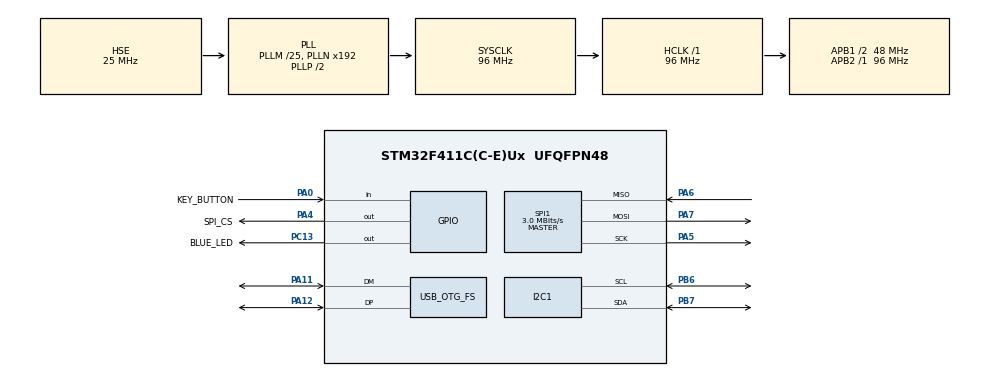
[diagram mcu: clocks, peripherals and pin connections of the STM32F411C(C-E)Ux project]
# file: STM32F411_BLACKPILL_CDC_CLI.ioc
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FREERTOS.Tasks01=defaultTask,24,128,StartDefaultTask,Default,NULL,Dynamic,NULL,NULL
FREERTOS.configUSE_NEWLIB_REENTRANT=1
Mcu.Family=STM32F4
Mcu.Name=STM32F411C(C-E)Ux
Mcu.Package=UFQFPN48
NVIC.OTG_FS_IRQn=true\:5\:0\:false\:false\:true\:true\:false\:true\:true
NVIC.PriorityGroup=NVIC_PRIORITYGROUP_4
NVIC.TIM1_UP_TIM10_IRQn=true\:15\:0\:false\:false\:true\:false\:false\:true\:true
NVIC.TimeBase=TIM1_UP_TIM10_IRQn
NVIC.TimeBaseIP=TIM1
PA0-WKUP.GPIO_Label=KEY_BUTTON
PA0-WKUP.Signal=GPIO_Input
PA11.Mode=Device_Only
PA11.Signal=USB_OTG_FS_DM
PA12.Mode=Device_Only
PA12.Signal=USB_OTG_FS_DP
PA13.Mode=Serial_Wire
PA13.Signal=SYS_JTMS-SWDIO
PA14.Mode=Serial_Wire
PA14.Signal=SYS_JTCK-SWCLK
PA4.GPIO_Label=SPI_CS
PA4.GPIO_Speed=GPIO_SPEED_FREQ_HIGH
PA4.Signal=GPIO_Output
PA5.Mode=Full_Duplex_Master
PA5.Signal=SPI1_SCK
PA6.Mode=Full_Duplex_Master
PA6.Signal=SPI1_MISO
PA7.Mode=Full_Duplex_Master
PA7.Signal=SPI1_MOSI
PB6.Mode=I2C
PB6.Signal=I2C1_SCL
PB7.Mode=I2C
PB7.Signal=I2C1_SDA
PC13-ANTI_TAMP.GPIO_Label=BLUE_LED
PC13-ANTI_TAMP.Signal=GPIO_Output
PC14-OSC32_IN.Mode=LSE-External-Oscillator
PC14-OSC32_IN.Signal=RCC_OSC32_IN
PC15-OSC32_OUT.Mode=LSE-External-Oscillator
PC15-OSC32_OUT.Signal=RCC_OSC32_OUT
PH0\ -\ OSC_IN.Mode=HSE-External-Oscillator
PH0\ -\ OSC_IN.Signal=RCC_OSC_IN
PH1\ -\ OSC_OUT.Mode=HSE-External-Oscillator
PH1\ -\ OSC_OUT.Signal=RCC_OSC_OUT
ProjectManager.HeapSize=0x200
ProjectManager.StackSize=0x400
ProjectManager.TargetToolchain=STM32CubeIDE
RCC.48MHZClocksFreq_Value=48000000
RCC.AHBFreq_Value=96000000
RCC.APB1CLKDivider=RCC_HCLK_DIV2
RCC.APB1Freq_Value=48000000
RCC.APB1TimFreq_Value=96000000
RCC.APB2Freq_Value=96000000
RCC.APB2TimFreq_Value=96000000
RCC.CortexFreq_Value=96000000
RCC.HCLKFreq_Value=96000000
RCC.HSE_VALUE=25000000
RCC.HSI_VALUE=16000000
RCC.PLLM=25
RCC.SYSCLKFreq_VALUE=96000000
RCC.SYSCLKSource=RCC_SYSCLKSOURCE_PLLCLK
RCC.VCOOutputFreq_Value=192000000
SPI1.BaudRatePrescaler=SPI_BAUDRATEPRESCALER_32
SPI1.CalculateBaudRate=3.0 MBits/s
SPI1.Direction=SPI_DIRECTION_2LINES
SPI1.Mode=SPI_MODE_MASTER
SPI1.VirtualType=VM_MASTER
USB_DEVICE.CLASS_NAME_FS=CDC
USB_DEVICE.VirtualMode=Cdc
USB_DEVICE.VirtualModeFS=Cdc_FS
USB_OTG_FS.VirtualMode=Device_Only
VP_FREERTOS_VS_CMSIS_V2.Mode=CMSIS_V2
VP_SYS_VS_tim1.Mode=TIM1
VP_USB_DEVICE_VS_USB_DEVICE_CDC_FS.Mode=CDC_FS
board=custom

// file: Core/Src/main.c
/* USER CODE BEGIN Header */
/**
  ******************************************************************************
  * @file           : main.c
  * @brief          : Main program body
  ******************************************************************************
  * @attention
  *
  * Copyright (c) 2022 STMicroelectronics.
  * All rights reserved.
  *
  * This software is licensed under terms that can be found in the LICENSE file
  * in the root directory of this software component.
  * If no LICENSE file comes with this software, it is provided AS-IS.
  *
  ******************************************************************************
  */
//
// Modified by PickleRix, alien firmware engineer 02/26/2022
//
/* USER CODE END Header */
#include <locale.h>
#include "main.h"
#include "cmsis_os.h"
#include "usb_device.h"

/* USER CODE BEGIN Includes */
#include "dispatcher.h"
#include "FreeRTOS_CLI.h"
#include "spi_eeprom.h"
#include "aht20.h"
/* USER CODE END Includes */

I2C_HandleTypeDef hi2c1;

SPI_HandleTypeDef hspi1;

/* Definitions for defaultTask */
osThreadId_t defaultTaskHandle;
const osThreadAttr_t defaultTask_attributes = {
  .name = "defaultTask",
  .stack_size = 128 * 4,
  .priority = (osPriority_t) osPriorityNormal,
};

void SystemClock_Config(void);
static void MX_GPIO_Init(void);
static void MX_SPI1_Init(void);
static void MX_I2C1_Init(void);
void StartDefaultTask(void *argument);

int main(void)
{

  /* MCU Configuration--------------------------------------------------------*/

  /* Reset of all peripherals, Initializes the Flash interface and the Systick. */
  HAL_Init();

  /* Configure the system clock */
  SystemClock_Config();

  /* Initialize all configured peripherals */
  MX_GPIO_Init();
  MX_SPI1_Init();
  MX_I2C1_Init();
  /* USER CODE BEGIN 2 */
  EEPROM_SPI_INIT(&hspi1, SPI_CS_GPIO_Port, SPI_CS_Pin);
#ifdef AH20_SUPPORT
  //Don't try to initialize this hardware unless it exists
  AHT20_I2C_INIT(&hi2c1);
#endif
  vRegisterCLICommands();
  /* USER CODE END 2 */

  /* Init scheduler */
  osKernelInitialize();

  /* Create the thread(s) */
  /* creation of defaultTask */
  defaultTaskHandle = osThreadNew(StartDefaultTask, NULL, &defaultTask_attributes);

  /* USER CODE BEGIN RTOS_THREADS */
  /* add threads, ... */
  DispatcherThreadInit();
  vCommandConsoleStart(configUART_COMMAND_CONSOLE_STACK_SIZE,(osPriority_t) osPriorityNormal);
  /* USER CODE END RTOS_THREADS */

  /* Start scheduler */
  osKernelStart();

  /* We should never get here as control is now taken by the scheduler */
  /* Infinite loop */
  while (1)
  {

  }
}

void SystemClock_Config(void)
{
  RCC_OscInitTypeDef RCC_OscInitStruct = {0};
  RCC_ClkInitTypeDef RCC_ClkInitStruct = {0};

  /** Configure the main internal regulator output voltage
  */
  __HAL_RCC_PWR_CLK_ENABLE();
  __HAL_PWR_VOLTAGESCALING_CONFIG(PWR_REGULATOR_VOLTAGE_SCALE1);

  /** Initializes the RCC Oscillators according to the specified parameters
  * in the RCC_OscInitTypeDef structure.
  */
  RCC_OscInitStruct.OscillatorType = RCC_OSCILLATORTYPE_HSE;
  RCC_OscInitStruct.HSEState = RCC_HSE_ON;
  RCC_OscInitStruct.PLL.PLLState = RCC_PLL_ON;
  RCC_OscInitStruct.PLL.PLLSource = RCC_PLLSOURCE_HSE;
  RCC_OscInitStruct.PLL.PLLM = 25;
  RCC_OscInitStruct.PLL.PLLN = 192;
  RCC_OscInitStruct.PLL.PLLP = RCC_PLLP_DIV2;
  RCC_OscInitStruct.PLL.PLLQ = 4;
  if (HAL_RCC_OscConfig(&RCC_OscInitStruct) != HAL_OK)
  {
    Error_Handler();
  }

  /** Initializes the CPU, AHB and APB buses clocks
  */
  RCC_ClkInitStruct.ClockType = RCC_CLOCKTYPE_HCLK|RCC_CLOCKTYPE_SYSCLK
                              |RCC_CLOCKTYPE_PCLK1|RCC_CLOCKTYPE_PCLK2;
  RCC_ClkInitStruct.SYSCLKSource = RCC_SYSCLKSOURCE_PLLCLK;
  RCC_ClkInitStruct.AHBCLKDivider = RCC_SYSCLK_DIV1;
  RCC_ClkInitStruct.APB1CLKDivider = RCC_HCLK_DIV2;
  RCC_ClkInitStruct.APB2CLKDivider = RCC_HCLK_DIV1;

  if (HAL_RCC_ClockConfig(&RCC_ClkInitStruct, FLASH_LATENCY_3) != HAL_OK)
  {
    Error_Handler();
  }
}

static void MX_I2C1_Init(void)
{

  hi2c1.Instance = I2C1;
  hi2c1.Init.ClockSpeed = 100000;
  hi2c1.Init.DutyCycle = I2C_DUTYCYCLE_2;
  hi2c1.Init.OwnAddress1 = 0;
  hi2c1.Init.AddressingMode = I2C_ADDRESSINGMODE_7BIT;
  hi2c1.Init.DualAddressMode = I2C_DUALADDRESS_DISABLE;
  hi2c1.Init.OwnAddress2 = 0;
  hi2c1.Init.GeneralCallMode = I2C_GENERALCALL_DISABLE;
  hi2c1.Init.NoStretchMode = I2C_NOSTRETCH_DISABLE;
  if (HAL_I2C_Init(&hi2c1) != HAL_OK)
  {
    Error_Handler();
  }

}

static void MX_SPI1_Init(void)
{

  /* SPI1 parameter configuration*/
  hspi1.Instance = SPI1;
  hspi1.Init.Mode = SPI_MODE_MASTER;
  hspi1.Init.Direction = SPI_DIRECTION_2LINES;
  hspi1.Init.DataSize = SPI_DATASIZE_8BIT;
  hspi1.Init.CLKPolarity = SPI_POLARITY_LOW;
  hspi1.Init.CLKPhase = SPI_PHASE_1EDGE;
  hspi1.Init.NSS = SPI_NSS_SOFT;
  hspi1.Init.BaudRatePrescaler = SPI_BAUDRATEPRESCALER_32;
  hspi1.Init.FirstBit = SPI_FIRSTBIT_MSB;
  hspi1.Init.TIMode = SPI_TIMODE_DISABLE;
  hspi1.Init.CRCCalculation = SPI_CRCCALCULATION_DISABLE;
  hspi1.Init.CRCPolynomial = 10;
  if (HAL_SPI_Init(&hspi1) != HAL_OK)
  {
    Error_Handler();
  }

}

static void MX_GPIO_Init(void)
{
  GPIO_InitTypeDef GPIO_InitStruct = {0};

  /* GPIO Ports Clock Enable */
  __HAL_RCC_GPIOC_CLK_ENABLE();
  __HAL_RCC_GPIOH_CLK_ENABLE();
  __HAL_RCC_GPIOA_CLK_ENABLE();
  __HAL_RCC_GPIOB_CLK_ENABLE();

  /*Configure GPIO pin Output Level */
  HAL_GPIO_WritePin(BLUE_LED_GPIO_Port, BLUE_LED_Pin, GPIO_PIN_RESET);

  /*Configure GPIO pin Output Level */
  HAL_GPIO_WritePin(SPI_CS_GPIO_Port, SPI_CS_Pin, GPIO_PIN_RESET);

  /*Configure GPIO pin : BLUE_LED_Pin */
  GPIO_InitStruct.Pin = BLUE_LED_Pin;
  GPIO_InitStruct.Mode = GPIO_MODE_OUTPUT_PP;
  GPIO_InitStruct.Pull = GPIO_NOPULL;
  GPIO_InitStruct.Speed = GPIO_SPEED_FREQ_LOW;
  HAL_GPIO_Init(BLUE_LED_GPIO_Port, &GPIO_InitStruct);

  /*Configure GPIO pin : KEY_BUTTON_Pin */
  GPIO_InitStruct.Pin = KEY_BUTTON_Pin;
  GPIO_InitStruct.Mode = GPIO_MODE_INPUT;
  GPIO_InitStruct.Pull = GPIO_NOPULL;
  HAL_GPIO_Init(KEY_BUTTON_GPIO_Port, &GPIO_InitStruct);

  /*Configure GPIO pin : SPI_CS_Pin */
  GPIO_InitStruct.Pin = SPI_CS_Pin;
  GPIO_InitStruct.Mode = GPIO_MODE_OUTPUT_PP;
  GPIO_InitStruct.Pull = GPIO_NOPULL;
  GPIO_InitStruct.Speed = GPIO_SPEED_FREQ_HIGH;
  HAL_GPIO_Init(SPI_CS_GPIO_Port, &GPIO_InitStruct);

}

void StartDefaultTask(void *argument)
{
  /* init code for USB_DEVICE */
  MX_USB_DEVICE_Init();
  /* USER CODE BEGIN 5 */
  GPIO_PinState PinState = GPIO_PIN_SET;
  int second_count = 0;
  osDelay(40); //Delay for 40 milliseconds before reading sensors
  /* Infinite loop */
  for(;;)
  {
#ifdef AH20_SUPPORT
	if((second_count%5) == 0)
	{
		// NULL parameters indicate that functions should store humidity
		// and temperature values only. The values can be retrieved later
		// by another thread using the Get_Values() function;
		Get_AHT20_Values(NULL, NULL);
	}
	second_count++;
#endif
	PinState = !PinState;
	HAL_GPIO_WritePin(BLUE_LED_GPIO_Port, BLUE_LED_Pin, PinState);
    osDelay(1000);
  }
  /* USER CODE END 5 */
}

void HAL_TIM_PeriodElapsedCallback(TIM_HandleTypeDef *htim)
{
  if (htim->Instance == TIM1) {
    HAL_IncTick();
  }
}

void Error_Handler(void)
{
  __disable_irq();
  while (1)
  {
  }
}
